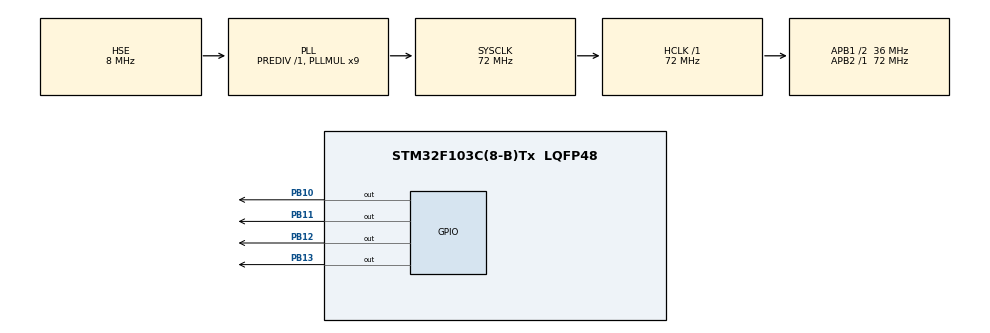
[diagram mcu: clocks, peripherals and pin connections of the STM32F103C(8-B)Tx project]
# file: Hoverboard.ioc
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Mcu.Family=STM32F1
Mcu.Name=STM32F103C(8-B)Tx
Mcu.Package=LQFP48
NVIC.PriorityGroup=NVIC_PRIORITYGROUP_4
NVIC.TIM1_UP_IRQn=true\:0\:0\:false\:false\:true\:true\:true\:true
PA13.Mode=Serial_Wire
PA13.Signal=SYS_JTMS-SWDIO
PA14.Mode=Serial_Wire
PA14.Signal=SYS_JTCK-SWCLK
PB10.GPIO_ModeDefaultOutputPP=GPIO_MODE_OUTPUT_OD
PB10.GPIO_PuPd=GPIO_NOPULL
PB10.Signal=GPIO_Output
PB11.GPIO_ModeDefaultOutputPP=GPIO_MODE_OUTPUT_OD
PB11.GPIO_PuPd=GPIO_NOPULL
PB11.Signal=GPIO_Output
PB12.GPIO_ModeDefaultOutputPP=GPIO_MODE_OUTPUT_OD
PB12.GPIO_PuPd=GPIO_NOPULL
PB12.Signal=GPIO_Output
PB13.GPIO_ModeDefaultOutputPP=GPIO_MODE_OUTPUT_OD
PB13.GPIO_PuPd=GPIO_NOPULL
PB13.Signal=GPIO_Output
PD0-OSC_IN.Mode=HSE-External-Oscillator
PD0-OSC_IN.Signal=RCC_OSC_IN
PD1-OSC_OUT.Mode=HSE-External-Oscillator
PD1-OSC_OUT.Signal=RCC_OSC_OUT
ProjectManager.HeapSize=0x200
ProjectManager.StackSize=0x400
ProjectManager.TargetToolchain=STM32CubeIDE
RCC.AHBFreq_Value=72000000
RCC.APB1CLKDivider=RCC_HCLK_DIV2
RCC.APB1Freq_Value=36000000
RCC.APB1TimFreq_Value=72000000
RCC.APB2Freq_Value=72000000
RCC.APB2TimFreq_Value=72000000
RCC.HCLKFreq_Value=72000000
RCC.PLLMUL=RCC_PLL_MUL9
RCC.PLLSourceVirtual=RCC_PLLSOURCE_HSE
RCC.SYSCLKFreq_VALUE=72000000
RCC.SYSCLKSource=RCC_SYSCLKSOURCE_PLLCLK
RCC.USBFreq_Value=72000000
TIM1.Period=71
TIM1.Prescaler=999
TIM1.TIM_MasterOutputTrigger=TIM_TRGO_UPDATE
VP_TIM1_VS_ClockSourceINT.Mode=Internal
board=custom

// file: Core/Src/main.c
/* USER CODE BEGIN Header */
/**
  ******************************************************************************
  * @file           : main.c
  * @brief          : Main program body
  ******************************************************************************
  * @attention
  *
  * Copyright (c) 2026 STMicroelectronics.
  * All rights reserved.
  *
  * This software is licensed under terms that can be found in the LICENSE file
  * in the root directory of this software component.
  * If no LICENSE file comes with this software, it is provided AS-IS.
  *
  ******************************************************************************
  */
/* USER CODE END Header */
#include "main.h"
#include "tim.h"
#include "gpio.h"

/* USER CODE BEGIN Includes */
#include "OLED.h"
#include "MPU6050.h"
#include "PID.h"
#include <math.h>
/* USER CODE END Includes */

/* USER CODE BEGIN PV */
int16_t AX,AY,AZ,GX,GY,GZ;
uint8_t Angle_Period;
uint8_t Speed_Period;
float AngleACC,AngleGYR,Angle;

PID_T AnglePID=
{
	.Kp=0,
	.Ki=0,
	.Kd=0,
	.OutMAX=100,
	.OutMIN=-100,
	.Target=0
};
/* USER CODE END PV */

void SystemClock_Config(void);

int main(void)
{

  /* MCU Configuration--------------------------------------------------------*/

  /* Reset of all peripherals, Initializes the Flash interface and the Systick. */
  HAL_Init();

  /* Configure the system clock */
  SystemClock_Config();

  /* Initialize all configured peripherals */
  MX_GPIO_Init();
  MX_TIM1_Init();
  /* USER CODE BEGIN 2 */
  OLED_Init();
  MPU6050_Init();
  HAL_TIM_Base_Start_IT(&htim1);

  /* USER CODE END 2 */

  /* Infinite loop */
  /* USER CODE BEGIN WHILE */
  while (1)
  {
	  OLED_ShowFloatNum(0,0,AngleACC,3,3,OLED_8X16);
	  OLED_ShowFloatNum(0,16,AngleGYR,3,3,OLED_8X16);
	  OLED_ShowFloatNum(0,32,Angle,3,3,OLED_8X16);

	  OLED_Update();
    /* USER CODE END WHILE */

  }
}

void SystemClock_Config(void)
{
  RCC_OscInitTypeDef RCC_OscInitStruct = {0};
  RCC_ClkInitTypeDef RCC_ClkInitStruct = {0};

  /** Initializes the RCC Oscillators according to the specified parameters
  * in the RCC_OscInitTypeDef structure.
  */
  RCC_OscInitStruct.OscillatorType = RCC_OSCILLATORTYPE_HSE;
  RCC_OscInitStruct.HSEState = RCC_HSE_ON;
  RCC_OscInitStruct.HSEPredivValue = RCC_HSE_PREDIV_DIV1;
  RCC_OscInitStruct.HSIState = RCC_HSI_ON;
  RCC_OscInitStruct.PLL.PLLState = RCC_PLL_ON;
  RCC_OscInitStruct.PLL.PLLSource = RCC_PLLSOURCE_HSE;
  RCC_OscInitStruct.PLL.PLLMUL = RCC_PLL_MUL9;
  if (HAL_RCC_OscConfig(&RCC_OscInitStruct) != HAL_OK)
  {
    Error_Handler();
  }

  /** Initializes the CPU, AHB and APB buses clocks
  */
  RCC_ClkInitStruct.ClockType = RCC_CLOCKTYPE_HCLK|RCC_CLOCKTYPE_SYSCLK
                              |RCC_CLOCKTYPE_PCLK1|RCC_CLOCKTYPE_PCLK2;
  RCC_ClkInitStruct.SYSCLKSource = RCC_SYSCLKSOURCE_PLLCLK;
  RCC_ClkInitStruct.AHBCLKDivider = RCC_SYSCLK_DIV1;
  RCC_ClkInitStruct.APB1CLKDivider = RCC_HCLK_DIV2;
  RCC_ClkInitStruct.APB2CLKDivider = RCC_HCLK_DIV1;

  if (HAL_RCC_ClockConfig(&RCC_ClkInitStruct, FLASH_LATENCY_2) != HAL_OK)
  {
    Error_Handler();
  }
}

/* USER CODE BEGIN 4 */
void HAL_TIM_PeriodElapsedCallback(TIM_HandleTypeDef *htim)
{
	if(htim->Instance==TIM1)
	{
		Angle_Period++;
		if(Angle_Period>=10)
		{
			Angle_Period=0;
			MPU6050_GetData(&AX,&AY,&AZ,&GX,&GY,&GZ);
			AngleACC=atan2(AX,AZ)/3.14159*180;
			AngleGYR=Angle-GY/32768.0*2000*0.01;//0.01是10ms读一次了，变换周期时有一些参数要对应修改
			static float A=0.01;
			//Angle=(1-A)*AngleGYR+A*AngleACC;
			Angle =AngleGYR+A*(AngleACC-AngleGYR);
		}
	}
}

/* USER CODE END 4 */

void Error_Handler(void)
{
  __disable_irq();
  while (1)
  {
  }
}
